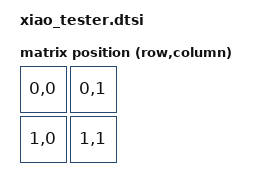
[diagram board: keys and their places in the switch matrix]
/ {
    macropad_physical_layout: macropad_physical_layout {
        compatible = "zmk,physical-layout";
        display-name = "XIAO tester";
        kscan = <&kscan0>;
        transform = <&default_transform>;

        map = <
            RC(0,0) RC(0,1)
            RC(1,0) RC(1,1)
            >;

        // keys  //                     w   h    x    y     rot    rx    ry
        //    = <&key_physical_attrs 100 100    0    0       0     0     0>
        //    , <&key_physical_attrs 100 100  100    0       0     0     0>
        //    , <&key_physical_attrs 100 100    0  100       0     0     0>
        //    , <&key_physical_attrs 100 100  100  100       0     0     0>
        //    ;
    };

    position_map {
        compatible = "zmk,physical-layout-position-map";

        macropad_physical_layout {
            physical-layout = <&macropad_physical_layout>;
            positions = <>;
        };
    };
};
